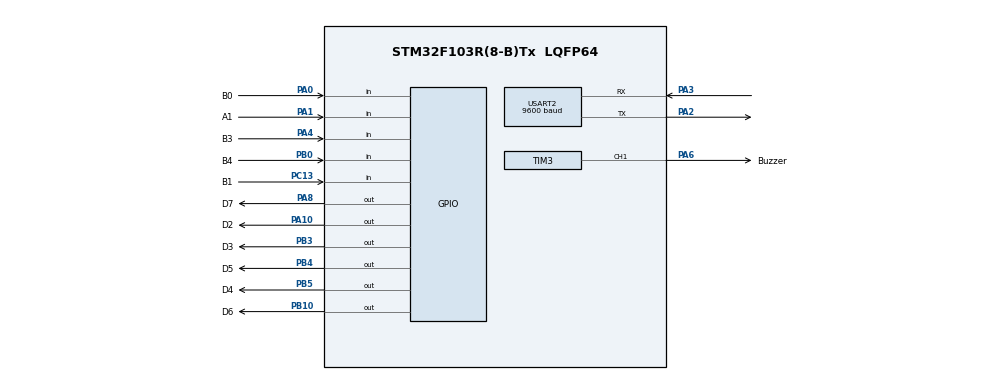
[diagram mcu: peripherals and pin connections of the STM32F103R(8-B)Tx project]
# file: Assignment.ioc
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Mcu.Family=STM32F1
Mcu.Name=STM32F103R(8-B)Tx
Mcu.Package=LQFP64
NVIC.PriorityGroup=NVIC_PRIORITYGROUP_4
NVIC.TIM2_IRQn=true\:0\:0\:false\:false\:true\:true\:true
NVIC.TIM3_IRQn=true\:0\:0\:false\:false\:true\:true\:true
NVIC.USART2_IRQn=true\:0\:0\:false\:false\:true\:true\:true
PA0-WKUP.GPIO_Label=B0
PA0-WKUP.GPIO_PuPd=GPIO_PULLUP
PA0-WKUP.Signal=GPIO_Input
PA1.GPIO_Label=A1
PA1.GPIO_PuPd=GPIO_PULLUP
PA1.Signal=GPIO_Input
PA10.GPIO_Label=D2
PA10.Signal=GPIO_Output
PA13.Mode=Serial_Wire
PA13.Signal=SYS_JTMS-SWDIO
PA14.Mode=Serial_Wire
PA14.Signal=SYS_JTCK-SWCLK
PA2.Mode=Asynchronous
PA2.Signal=USART2_TX
PA3.Mode=Asynchronous
PA3.Signal=USART2_RX
PA4.GPIO_Label=B3
PA4.GPIO_PuPd=GPIO_PULLUP
PA4.Signal=GPIO_Input
PA6.GPIO_Label=Buzzer
PA6.Signal=S_TIM3_CH1
PA8.GPIO_Label=D7
PA8.Signal=GPIO_Output
PB0.GPIO_Label=B4
PB0.GPIO_PuPd=GPIO_PULLUP
PB0.Signal=GPIO_Input
PB10.GPIO_Label=D6
PB10.Signal=GPIO_Output
PB3.GPIO_Label=D3
PB3.Signal=GPIO_Output
PB4.GPIO_Label=D5
PB4.Signal=GPIO_Output
PB5.GPIO_Label=D4
PB5.Signal=GPIO_Output
PC13-TAMPER-RTC.GPIO_Label=B1
PC13-TAMPER-RTC.GPIO_PuPd=GPIO_PULLUP
PC13-TAMPER-RTC.Signal=GPIO_Input
ProjectManager.HeapSize=0x200
ProjectManager.StackSize=0x400
ProjectManager.TargetToolchain=STM32CubeIDE
RCC.APB1Freq_Value=8000000
RCC.APB2Freq_Value=8000000
SH.S_TIM3_CH1.0=TIM3_CH1,PWM Generation1 CH1
TIM2.Period=7999
TIM2.Prescaler=9
TIM3.Channel-PWM\ Generation1\ CH1=TIM_CHANNEL_1
TIM3.Period=799
TIM3.Prescaler=9
USART2.BaudRate=9600
USART2.VirtualMode=VM_ASYNC
VP_TIM2_VS_ClockSourceINT.Mode=Internal
VP_TIM3_VS_ClockSourceINT.Mode=Internal
board=custom

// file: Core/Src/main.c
/* USER CODE BEGIN Header */
/**
  ******************************************************************************
  * @file           : main.c
  * @brief          : Main program body
  ******************************************************************************
  * @attention
  *
  * <h2><center>&copy; Copyright (c) 2022 STMicroelectronics.
  * All rights reserved.</center></h2>
  *
  * This software component is licensed by ST under BSD 3-Clause license,
  * the "License"; You may not use this file except in compliance with the
  * License. You may obtain a copy of the License at:
  *                        opensource.org/licenses/BSD-3-Clause
  *
  ******************************************************************************
  */
/* USER CODE END Header */
#include "main.h"

/* USER CODE BEGIN Includes */
#include "input_processing.h"
#include "global.h"
#include "mode_processing.h"
#include "led_processing.h"
#include "software_timer.h"
#include "input_reading.h"
/* USER CODE END Includes */

TIM_HandleTypeDef htim2;
TIM_HandleTypeDef htim3;

UART_HandleTypeDef huart2;

void SystemClock_Config(void);
static void MX_GPIO_Init(void);
static void MX_TIM2_Init(void);
static void MX_TIM3_Init(void);
static void MX_USART2_UART_Init(void);

/* USER CODE BEGIN 0 */
void testIO(){
	HAL_GPIO_WritePin(D2_GPIO_Port, D2_Pin,
			HAL_GPIO_ReadPin(B0_GPIO_Port, B0_Pin));

	HAL_GPIO_WritePin(D4_GPIO_Port, D4_Pin,
			HAL_GPIO_ReadPin(A1_GPIO_Port, A1_Pin));

	HAL_GPIO_WritePin(D6_GPIO_Port, D6_Pin,
			HAL_GPIO_ReadPin(B3_GPIO_Port, B3_Pin));
}

uint8_t tBuffer[50]={"!7SEG:  #"};
#define counter_index 			5
#define counter_length 			2

void updateBuffer(int counter) {
		for (int i=0; i< counter_length; i++) {
			tBuffer[counter_length + counter_index - i] = counter%10+48;
			counter/=10;
		}
}
/* USER CODE END 0 */

int main(void)
{

  /* MCU Configuration--------------------------------------------------------*/

  /* Reset of all peripherals, Initializes the Flash interface and the Systick. */
  HAL_Init();

  /* Configure the system clock */
  SystemClock_Config();

  /* Initialize all configured peripherals */
  MX_GPIO_Init();
  MX_TIM2_Init();
  MX_TIM3_Init();
  MX_USART2_UART_Init();
  /* USER CODE BEGIN 2 */
  HAL_TIM_Base_Start_IT(&htim2);
  HAL_TIM_PWM_Start(&htim3, TIM_CHANNEL_1);

  /* USER CODE END 2 */

  /* Infinite loop */
  /* USER CODE BEGIN WHILE */
  //setTimer1(1000);
  int dutyCycle = 0;
  setTimerBlinking(200);
  while (1)
  {

	  if(getTimerBlinkingFlag() == 1){
		updateBuffer(counter0);
		HAL_UART_Transmit(&huart2, tBuffer, 50, 10);
		setTimerBlinking(200);
	  }
	  fsm_for_input_processing();
	  mode_processing();
	  if (pedestrian > 0 && pedestrian <= timeCycle && trafficLed1 == 2) {
		  if (getTimer3Flag() == 1){
			  __HAL_TIM_SetCompare(&htim3, TIM_CHANNEL_1, dutyCycle);
			  if (dutyCycle <= 100) dutyCycle += 20;
			  //displayPedestrianLed(3);
			  setTimer3(counter1 * 200); //150
		  }
	  }
	  else{
		__HAL_TIM_SetCompare(&htim3, TIM_CHANNEL_1, 0);
		dutyCycle = 0;
		setTimer3(0);
	  }
  }
}

void SystemClock_Config(void)
{
  RCC_OscInitTypeDef RCC_OscInitStruct = {0};
  RCC_ClkInitTypeDef RCC_ClkInitStruct = {0};

  /** Initializes the RCC Oscillators according to the specified parameters
  * in the RCC_OscInitTypeDef structure.
  */
  RCC_OscInitStruct.OscillatorType = RCC_OSCILLATORTYPE_HSI;
  RCC_OscInitStruct.HSIState = RCC_HSI_ON;
  RCC_OscInitStruct.HSICalibrationValue = RCC_HSICALIBRATION_DEFAULT;
  RCC_OscInitStruct.PLL.PLLState = RCC_PLL_NONE;
  if (HAL_RCC_OscConfig(&RCC_OscInitStruct) != HAL_OK)
  {
    Error_Handler();
  }
  /** Initializes the CPU, AHB and APB buses clocks
  */
  RCC_ClkInitStruct.ClockType = RCC_CLOCKTYPE_HCLK|RCC_CLOCKTYPE_SYSCLK
                              |RCC_CLOCKTYPE_PCLK1|RCC_CLOCKTYPE_PCLK2;
  RCC_ClkInitStruct.SYSCLKSource = RCC_SYSCLKSOURCE_HSI;
  RCC_ClkInitStruct.AHBCLKDivider = RCC_SYSCLK_DIV1;
  RCC_ClkInitStruct.APB1CLKDivider = RCC_HCLK_DIV1;
  RCC_ClkInitStruct.APB2CLKDivider = RCC_HCLK_DIV1;

  if (HAL_RCC_ClockConfig(&RCC_ClkInitStruct, FLASH_LATENCY_0) != HAL_OK)
  {
    Error_Handler();
  }
}

static void MX_TIM2_Init(void)
{

  TIM_ClockConfigTypeDef sClockSourceConfig = {0};
  TIM_MasterConfigTypeDef sMasterConfig = {0};

  htim2.Instance = TIM2;
  htim2.Init.Prescaler = 9;
  htim2.Init.CounterMode = TIM_COUNTERMODE_UP;
  htim2.Init.Period = 7999;
  htim2.Init.ClockDivision = TIM_CLOCKDIVISION_DIV1;
  htim2.Init.AutoReloadPreload = TIM_AUTORELOAD_PRELOAD_DISABLE;
  if (HAL_TIM_Base_Init(&htim2) != HAL_OK)
  {
    Error_Handler();
  }
  sClockSourceConfig.ClockSource = TIM_CLOCKSOURCE_INTERNAL;
  if (HAL_TIM_ConfigClockSource(&htim2, &sClockSourceConfig) != HAL_OK)
  {
    Error_Handler();
  }
  sMasterConfig.MasterOutputTrigger = TIM_TRGO_RESET;
  sMasterConfig.MasterSlaveMode = TIM_MASTERSLAVEMODE_DISABLE;
  if (HAL_TIMEx_MasterConfigSynchronization(&htim2, &sMasterConfig) != HAL_OK)
  {
    Error_Handler();
  }

}

static void MX_TIM3_Init(void)
{

  TIM_ClockConfigTypeDef sClockSourceConfig = {0};
  TIM_MasterConfigTypeDef sMasterConfig = {0};
  TIM_OC_InitTypeDef sConfigOC = {0};

  htim3.Instance = TIM3;
  htim3.Init.Prescaler = 9;
  htim3.Init.CounterMode = TIM_COUNTERMODE_UP;
  htim3.Init.Period = 799;
  htim3.Init.ClockDivision = TIM_CLOCKDIVISION_DIV1;
  htim3.Init.AutoReloadPreload = TIM_AUTORELOAD_PRELOAD_DISABLE;
  if (HAL_TIM_Base_Init(&htim3) != HAL_OK)
  {
    Error_Handler();
  }
  sClockSourceConfig.ClockSource = TIM_CLOCKSOURCE_INTERNAL;
  if (HAL_TIM_ConfigClockSource(&htim3, &sClockSourceConfig) != HAL_OK)
  {
    Error_Handler();
  }
  if (HAL_TIM_PWM_Init(&htim3) != HAL_OK)
  {
    Error_Handler();
  }
  sMasterConfig.MasterOutputTrigger = TIM_TRGO_RESET;
  sMasterConfig.MasterSlaveMode = TIM_MASTERSLAVEMODE_DISABLE;
  if (HAL_TIMEx_MasterConfigSynchronization(&htim3, &sMasterConfig) != HAL_OK)
  {
    Error_Handler();
  }
  sConfigOC.OCMode = TIM_OCMODE_PWM1;
  sConfigOC.Pulse = 0;
  sConfigOC.OCPolarity = TIM_OCPOLARITY_HIGH;
  sConfigOC.OCFastMode = TIM_OCFAST_DISABLE;
  if (HAL_TIM_PWM_ConfigChannel(&htim3, &sConfigOC, TIM_CHANNEL_1) != HAL_OK)
  {
    Error_Handler();
  }
  HAL_TIM_MspPostInit(&htim3);

}

static void MX_USART2_UART_Init(void)
{

  huart2.Instance = USART2;
  huart2.Init.BaudRate = 9600;
  huart2.Init.WordLength = UART_WORDLENGTH_8B;
  huart2.Init.StopBits = UART_STOPBITS_1;
  huart2.Init.Parity = UART_PARITY_NONE;
  huart2.Init.Mode = UART_MODE_TX_RX;
  huart2.Init.HwFlowCtl = UART_HWCONTROL_NONE;
  huart2.Init.OverSampling = UART_OVERSAMPLING_16;
  if (HAL_UART_Init(&huart2) != HAL_OK)
  {
    Error_Handler();
  }

}

static void MX_GPIO_Init(void)
{
  GPIO_InitTypeDef GPIO_InitStruct = {0};

  /* GPIO Ports Clock Enable */
  __HAL_RCC_GPIOC_CLK_ENABLE();
  __HAL_RCC_GPIOA_CLK_ENABLE();
  __HAL_RCC_GPIOB_CLK_ENABLE();

  /*Configure GPIO pin Output Level */
  HAL_GPIO_WritePin(GPIOB, D6_Pin|D3_Pin|D5_Pin|D4_Pin, GPIO_PIN_RESET);

  /*Configure GPIO pin Output Level */
  HAL_GPIO_WritePin(GPIOA, D7_Pin|D2_Pin, GPIO_PIN_RESET);

  /*Configure GPIO pin : B1_Pin */
  GPIO_InitStruct.Pin = B1_Pin;
  GPIO_InitStruct.Mode = GPIO_MODE_INPUT;
  GPIO_InitStruct.Pull = GPIO_PULLUP;
  HAL_GPIO_Init(B1_GPIO_Port, &GPIO_InitStruct);

  /*Configure GPIO pins : B0_Pin A1_Pin B3_Pin */
  GPIO_InitStruct.Pin = B0_Pin|A1_Pin|B3_Pin;
  GPIO_InitStruct.Mode = GPIO_MODE_INPUT;
  GPIO_InitStruct.Pull = GPIO_PULLUP;
  HAL_GPIO_Init(GPIOA, &GPIO_InitStruct);

  /*Configure GPIO pin : B4_Pin */
  GPIO_InitStruct.Pin = B4_Pin;
  GPIO_InitStruct.Mode = GPIO_MODE_INPUT;
  GPIO_InitStruct.Pull = GPIO_PULLUP;
  HAL_GPIO_Init(B4_GPIO_Port, &GPIO_InitStruct);

  /*Configure GPIO pins : D6_Pin D3_Pin D5_Pin D4_Pin */
  GPIO_InitStruct.Pin = D6_Pin|D3_Pin|D5_Pin|D4_Pin;
  GPIO_InitStruct.Mode = GPIO_MODE_OUTPUT_PP;
  GPIO_InitStruct.Pull = GPIO_NOPULL;
  GPIO_InitStruct.Speed = GPIO_SPEED_FREQ_LOW;
  HAL_GPIO_Init(GPIOB, &GPIO_InitStruct);

  /*Configure GPIO pins : D7_Pin D2_Pin */
  GPIO_InitStruct.Pin = D7_Pin|D2_Pin;
  GPIO_InitStruct.Mode = GPIO_MODE_OUTPUT_PP;
  GPIO_InitStruct.Pull = GPIO_NOPULL;
  GPIO_InitStruct.Speed = GPIO_SPEED_FREQ_LOW;
  HAL_GPIO_Init(GPIOA, &GPIO_InitStruct);

}

/* USER CODE BEGIN 4 */
void HAL_TIM_PeriodElapsedCallback(TIM_HandleTypeDef *htim){
	if(htim->Instance == TIM2){
		button_reading();
		timerRun();
	}
}
/* USER CODE END 4 */

void Error_Handler(void)
{
  __disable_irq();
  while (1)
  {
  }
}

/************************ (C) COPYRIGHT STMicroelectronics *****END OF FILE****/
